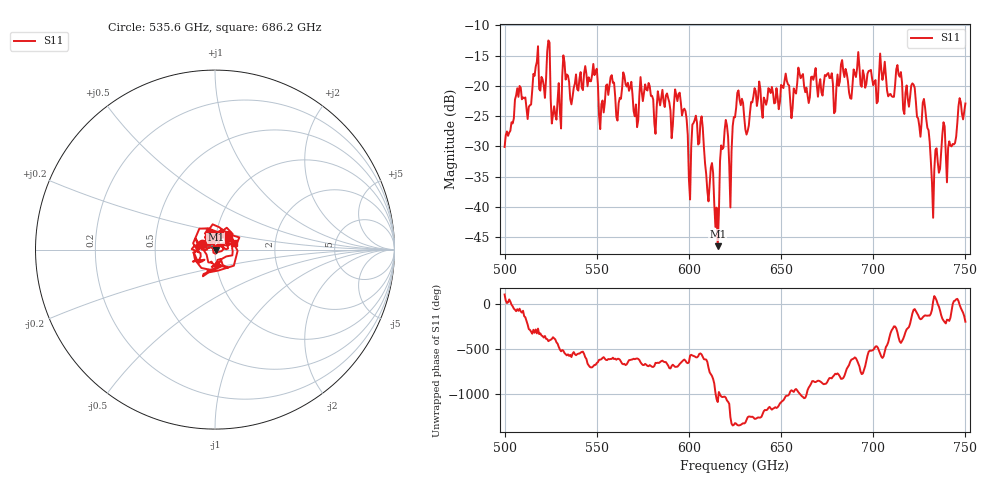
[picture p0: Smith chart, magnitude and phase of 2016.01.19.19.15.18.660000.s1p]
!Created with skrf (http://scikit-rf.org).
# GHz S RI R 50.0
!freq ReS11 ImS11
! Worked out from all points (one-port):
!   401 points, 500 GHz to 750 GHz, reference 50 ohm
!   lowest |S11| = -46.5 dB at 615.6 GHz (marker M1), VSWR 1.01, Z = 50.5 - j0.131 ohm
!   |S11| at or under -10 dB: start of sweep to end of sweep
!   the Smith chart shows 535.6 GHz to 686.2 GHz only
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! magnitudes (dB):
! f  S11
! 500 GHz  -30.1
! 507.5 GHz  -21.8
! 513.1 GHz  -23.5
! 516.9 GHz  -16.8
! 523.8 GHz  -12.5
! 526.9 GHz  -23.4
! 531.2 GHz  -18.5
! 548.8 GHz  -18.2
! 552.5 GHz  -23.0
! 558.1 GHz  -18.2
! 562.5 GHz  -22.0
! 593.8 GHz  -22.5
! 600 GHz  -35.4
! 603.1 GHz  -25.7
! 606.9 GHz  -25.0
! 610 GHz  -37.4
! 615.6 GHz  -46.5
! 618.8 GHz  -30.2
! 622.5 GHz  -40.1
! 625 GHz  -25.2
! 656.2 GHz  -23.7
! 660.6 GHz  -18.7
! 687.5 GHz  -22.0
! 705 GHz  -19.0
! 718.8 GHz  -22.2
! 728.1 GHz  -23.6
! 732.5 GHz  -41.8
! 750 GHz  -22.9
